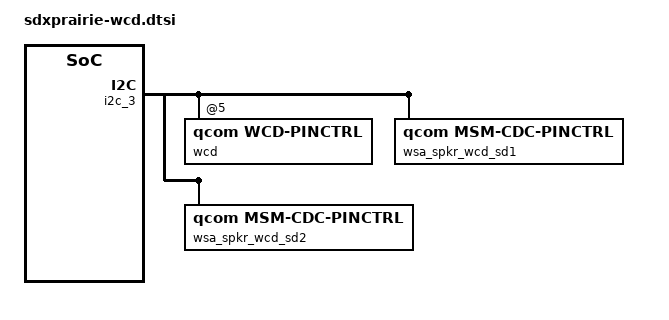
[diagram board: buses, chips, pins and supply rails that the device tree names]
/* Copyright (c) 2016-2018, The Linux Foundation. All rights reserved.
 *
 * This program is free software; you can redistribute it and/or modify
 * it under the terms of the GNU General Public License version 2 and
 * only version 2 as published by the Free Software Foundation.
 *
 * This program is distributed in the hope that it will be useful,
 * but WITHOUT ANY WARRANTY; without even the implied warranty of
 * MERCHANTABILITY or FITNESS FOR A PARTICULAR PURPOSE.  See the
 * GNU General Public License for more details.
 */

&i2c_3 {
	tavil_codec {
		wcd: wcd_pinctrl@5 {
			compatible = "qcom,wcd-pinctrl";
			qcom,num-gpios = <5>;
			gpio-controller;
			#gpio-cells = <2>;

			spkr_1_wcd_en_active: spkr_1_wcd_en_active {
				mux {
					pins = "gpio2";
				};

				config {
					pins = "gpio2";
					output-high;
				};
			};

			spkr_1_wcd_en_sleep: spkr_1_wcd_en_sleep {
				mux {
					pins = "gpio2";
				};

				config {
					pins = "gpio2";
					input-enable;
				};
			};

			spkr_2_wcd_en_active: spkr_2_sd_n_active {
				mux {
					pins = "gpio3";
				};

				config {
					pins = "gpio3";
					output-high;
				};
			};

			spkr_2_wcd_en_sleep: spkr_2_sd_n_sleep {
				mux {
					pins = "gpio3";
				};

				config {
					pins = "gpio3";
					input-enable;
				};
			};
		};

		wsa_spkr_wcd_sd1: msm_cdc_pinctrll {
		      compatible = "qcom,msm-cdc-pinctrl";
		      pinctrl-names = "aud_active", "aud_sleep";
		      pinctrl-0 = <&spkr_1_wcd_en_active>;
		      pinctrl-1 = <&spkr_1_wcd_en_sleep>;
		};

		wsa_spkr_wcd_sd2: msm_cdc_pinctrlr {
		      compatible = "qcom,msm-cdc-pinctrl";
		      pinctrl-names = "aud_active", "aud_sleep";
		      pinctrl-0 = <&spkr_2_wcd_en_active>;
		      pinctrl-1 = <&spkr_2_wcd_en_sleep>;
		};
	};
};
